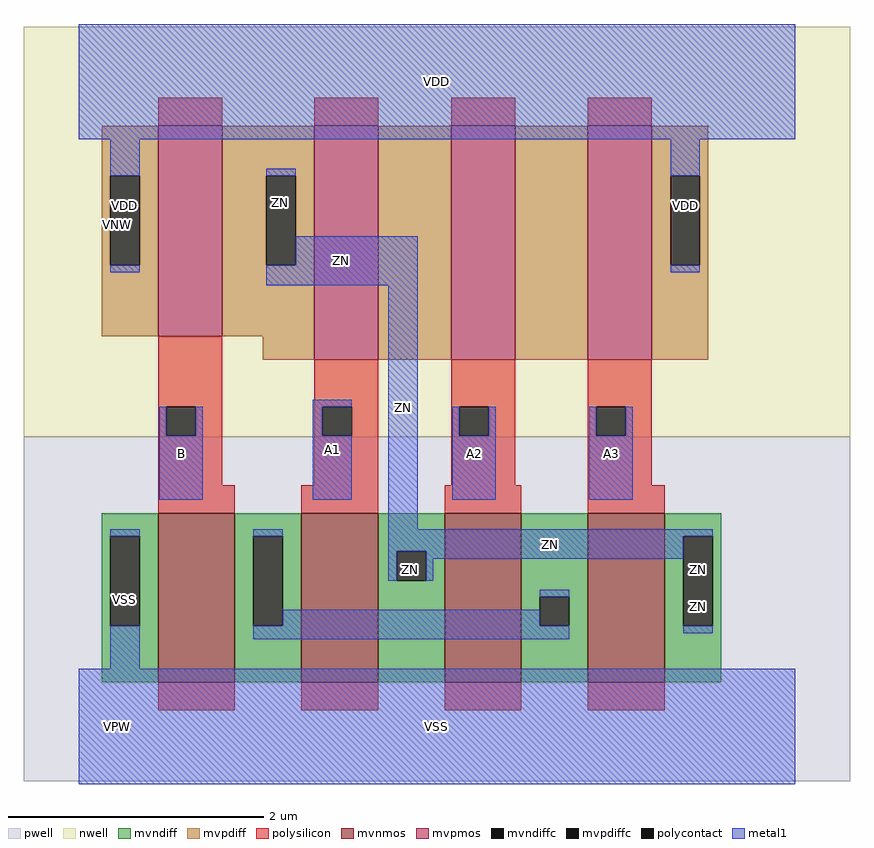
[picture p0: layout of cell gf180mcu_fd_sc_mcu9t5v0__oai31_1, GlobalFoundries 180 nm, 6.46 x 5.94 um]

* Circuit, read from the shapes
.subckt gf180mcu_fd_sc_mcu9t5v0__oai31_1 A1 A2 A3 B ZN VDD VNW VPW VSS
XM1 n1 B VSS VPW nfet_06v0 w=1.32u l=0.6u
XM2 ZN A1 n1 VPW nfet_06v0 w=1.32u l=0.6u
XM3 n1 A2 ZN VPW nfet_06v0 w=1.32u l=0.6u
XM4 ZN A3 n1 VPW nfet_06v0 w=1.32u l=0.6u
XM5 ZN B VDD VNW pfet_06v0 w=1.645u l=0.5u
XM6 n2 A1 ZN VNW pfet_06v0 w=1.83u l=0.5u
XM7 n3 A2 n2 VNW pfet_06v0 w=1.83u l=0.5u
XM8 VDD A3 n3 VNW pfet_06v0 w=1.83u l=0.5u
.ends

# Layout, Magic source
magic
tech gf180mcuD
magscale 1 10
<< nwell >>
rect -86 453 1206 1094
<< pwell >>
rect -86 -86 1206 453
<< mvnmos >>
rect 124 69 244 333
rect 348 69 468 333
rect 572 69 692 333
rect 796 69 916 333
<< mvpmos >>
rect 124 610 224 939
rect 368 573 468 939
rect 582 573 682 939
rect 796 573 896 939
<< mvndiff >>
rect 36 297 124 333
rect 36 157 49 297
rect 95 157 124 297
rect 36 69 124 157
rect 244 297 348 333
rect 244 157 273 297
rect 319 157 348 297
rect 244 69 348 157
rect 468 274 572 333
rect 468 228 497 274
rect 543 228 572 274
rect 468 69 572 228
rect 692 203 796 333
rect 692 157 721 203
rect 767 157 796 203
rect 692 69 796 157
rect 916 297 1004 333
rect 916 157 945 297
rect 991 157 1004 297
rect 916 69 1004 157
<< mvpdiff >>
rect 36 861 124 939
rect 36 721 49 861
rect 95 721 124 861
rect 36 610 124 721
rect 224 861 368 939
rect 224 721 293 861
rect 339 721 368 861
rect 224 610 368 721
rect 288 573 368 610
rect 468 573 582 939
rect 682 573 796 939
rect 896 861 984 939
rect 896 721 925 861
rect 971 721 984 861
rect 896 573 984 721
<< mvndiffc >>
rect 49 157 95 297
rect 273 157 319 297
rect 497 228 543 274
rect 721 157 767 203
rect 945 157 991 297
<< mvpdiffc >>
rect 49 721 95 861
rect 293 721 339 861
rect 925 721 971 861
<< polysilicon >>
rect 124 939 224 983
rect 368 939 468 983
rect 582 939 682 983
rect 796 939 896 983
rect 124 500 224 610
rect 124 454 137 500
rect 183 454 224 500
rect 124 377 224 454
rect 368 500 468 573
rect 368 454 381 500
rect 427 454 468 500
rect 368 377 468 454
rect 582 500 682 573
rect 582 454 595 500
rect 641 454 682 500
rect 582 377 682 454
rect 796 500 896 573
rect 796 454 809 500
rect 855 454 896 500
rect 796 377 896 454
rect 124 333 244 377
rect 348 333 468 377
rect 572 333 692 377
rect 796 333 916 377
rect 124 25 244 69
rect 348 25 468 69
rect 572 25 692 69
rect 796 25 916 69
<< polycontact >>
rect 137 454 183 500
rect 381 454 427 500
rect 595 454 641 500
rect 809 454 855 500
<< metal1 >>
rect 0 918 1120 1098
rect 49 861 95 918
rect 49 710 95 721
rect 293 861 339 872
rect 925 861 971 918
rect 339 721 530 766
rect 293 690 530 721
rect 925 710 971 721
rect 366 500 427 511
rect 126 454 137 500
rect 183 454 194 500
rect 126 354 194 454
rect 366 454 381 500
rect 366 354 427 454
rect 484 308 530 690
rect 584 454 595 500
rect 641 454 652 500
rect 584 354 652 454
rect 798 454 809 500
rect 855 454 866 500
rect 798 354 866 454
rect 49 297 95 308
rect 49 90 95 157
rect 273 297 319 308
rect 484 297 991 308
rect 484 274 945 297
rect 484 228 497 274
rect 543 262 945 274
rect 543 228 554 262
rect 721 203 767 214
rect 319 157 721 182
rect 273 136 767 157
rect 945 146 991 157
rect 0 -90 1120 90
<< labels >>
flabel metal1 s 366 354 427 511 0 FreeSans 200 0 0 0 A1
port 1 nsew default input
flabel metal1 s 584 354 652 500 0 FreeSans 200 0 0 0 A2
port 2 nsew default input
flabel metal1 s 798 354 866 500 0 FreeSans 200 0 0 0 A3
port 3 nsew default input
flabel metal1 s 126 354 194 500 0 FreeSans 200 0 0 0 B
port 4 nsew default input
flabel metal1 s 0 918 1120 1098 0 FreeSans 200 0 0 0 VDD
port 6 nsew power bidirectional abutment
flabel metal1 s 49 90 95 308 0 FreeSans 200 0 0 0 VSS
port 9 nsew ground bidirectional abutment
flabel metal1 s 293 766 339 872 0 FreeSans 200 0 0 0 ZN
port 5 nsew default output
flabel nwell s 10 734 110 834 0 FreeSans 400 0 0 0 VNW
port 7 nsew power bidirectional
flabel pwell s 10 -50 110 50 0 FreeSans 400 0 0 0 VPW
port 8 nsew ground bidirectional
rlabel metal1 s 293 690 530 766 1 ZN
port 5 nsew default output
rlabel metal1 s 484 308 530 690 1 ZN
port 5 nsew default output
rlabel metal1 s 484 262 991 308 1 ZN
port 5 nsew default output
rlabel metal1 s 945 228 991 262 1 ZN
port 5 nsew default output
rlabel metal1 s 484 228 554 262 1 ZN
port 5 nsew default output
rlabel metal1 s 945 146 991 228 1 ZN
port 5 nsew default output
rlabel metal1 s 925 710 971 918 1 VDD
port 6 nsew power bidirectional abutment
rlabel metal1 s 49 710 95 918 1 VDD
port 6 nsew power bidirectional abutment
rlabel metal1 s 0 -90 1120 90 1 VSS
port 9 nsew ground bidirectional abutment
<< properties >>
string FIXED_BBOX 0 0 1120 1008
string GDS_END 148738
string GDS_FILE $PDKPATH/libs.ref/gf180mcu_fd_sc_mcu9t5v0/gds/gf180mcu_fd_sc_mcu9t5v0.gds
string GDS_START 145042
string LEFclass core
string LEFsite GF018hv5v_green_sc9
string LEFsymmetry X Y
<< end >>
